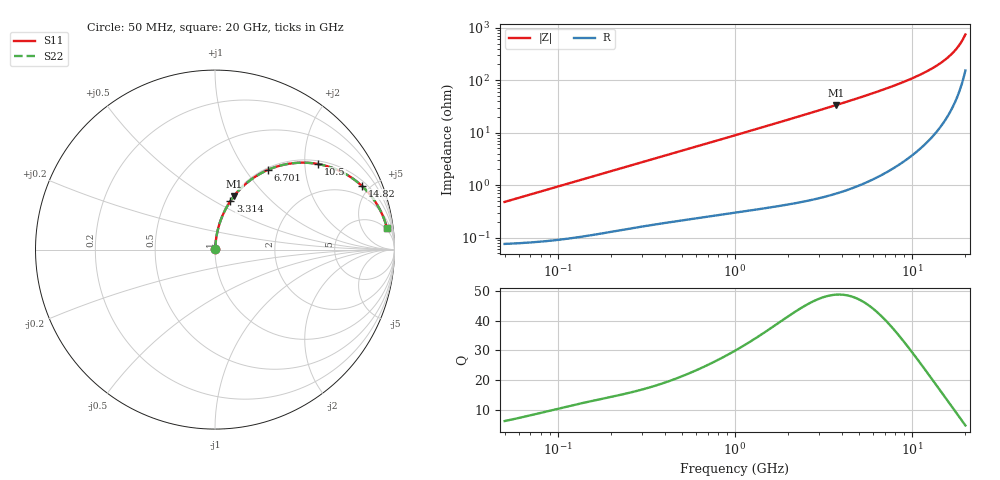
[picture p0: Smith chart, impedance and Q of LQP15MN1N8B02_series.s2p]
!Murata Part Number: LQP15MN1N8B02
!These Parameters are Measured in Series Mode Connection
!  o--[Z]--o
!Port1  Port2
!  o-------o
!Freq. Start=50[MHz] Stop=20[GHz], 401[Steps]
# Hz S RI R 50
!Freq.(Hz) S11(Real) S11(Imag) S21(Real) S21(Imag) S12(Real) S12(Imag) S22(Real) S22(Imag)
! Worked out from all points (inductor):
!   401 points, 50 MHz to 20 GHz, reference 50 ohm
!   read as one part in series: L = 1.5 nH near 51.52 MHz
!   highest Q = 48.8 at 3.736 GHz (marker M1), where L = 1.43 nH
!   S11 on the Smith chart (normalised r, x): 50 MHz: 1.00, +0.01; 3.314 GHz: 1.01, +0.59; 6.701 GHz: 1.03, +1.28; 10.5 GHz: 1.08, +2.33; 14.82 GHz: 1.29, +4.48; 20 GHz: 4, +15
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5e7  0.000777 0.00471  0.9992 -0.00471  0.9992 -0.00471  0.000777 0.00471
1.364002e8  0.0012 0.0127  0.9988 -0.0127  0.9988 -0.0127  0.0012 0.0127
3.721004e8  0.00295 0.0336  0.9971 -0.0336  0.9971 -0.0336  0.00295 0.0336
6.380365e8  0.00561 0.0567  0.9944 -0.0567  0.9944 -0.0567  0.00561 0.0567
1e9  0.0107 0.0877  0.9893 -0.0877  0.9893 -0.0877  0.0107 0.0877
1.689197e9  0.0255 0.1453  0.9745 -0.1453  0.9745 -0.1453  0.0255 0.1453
2.728004e9  0.0601 0.2272  0.9399 -0.2272  0.9399 -0.2272  0.0601 0.2272
3.314454e9  0.0858 0.2699  0.9142 -0.2699  0.9142 -0.2699  0.0858 0.2699
3.736399e9  0.1067 0.2987  0.8933 -0.2987  0.8933 -0.2987  0.1067 0.2987
5.041459e9  0.1826 0.3759  0.8174 -0.3759  0.8174 -0.3759  0.1826 0.3759
6.701223e9  0.2966 0.4449  0.7034 -0.4449  0.7034 -0.4449  0.2966 0.4449
7.442007e9  0.351 0.4646  0.649 -0.4646  0.649 -0.4646  0.351 0.4646
8.907419e9  0.4598 0.4836  0.5402 -0.4836  0.5402 -0.4836  0.4598 0.4836
1.050288e10  0.574 0.4768  0.426 -0.4768  0.426 -0.4768  0.574 0.4768
1.166392e10  0.6506 0.4565  0.3494 -0.4565  0.3494 -0.4565  0.6506 0.4565
1.276073e10  0.7163 0.4275  0.2837 -0.4275  0.2837 -0.4275  0.7163 0.4275
1.482269e10  0.8192 0.354  0.1808 -0.354  0.1808 -0.354  0.8192 0.354
1.621653e10  0.8727 0.2951  0.1273 -0.2951  0.1273 -0.2951  0.8727 0.2951
1.747767e10  0.9104 0.2384  0.0896 -0.2384  0.0896 -0.2384  0.9104 0.2384
1.855685e10  0.9349 0.1887  0.0651 -0.1887  0.0651 -0.1887  0.9349 0.1887
1.940974e10  0.9496 0.1494  0.0504 -0.1494  0.0504 -0.1494  0.9496 0.1494
2e10  0.9575 0.1223  0.0425 -0.1223  0.0425 -0.1223  0.9575 0.1223
